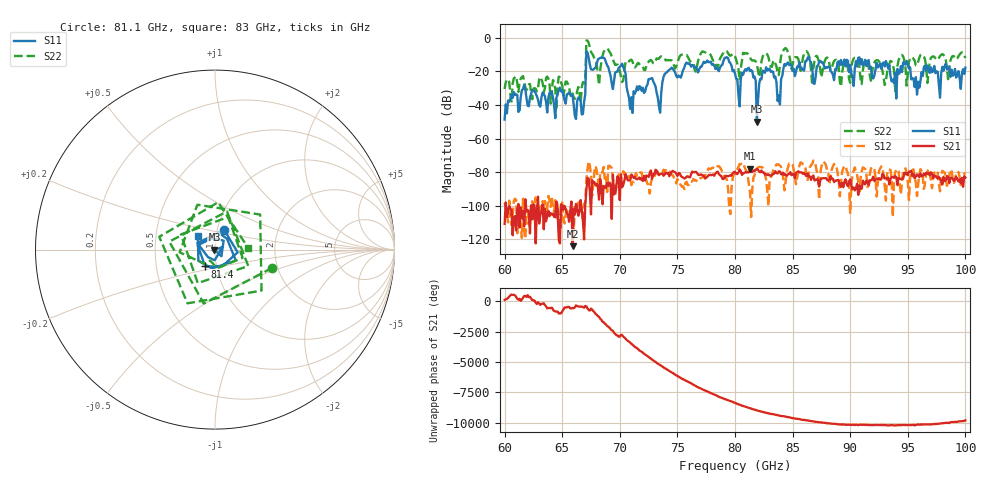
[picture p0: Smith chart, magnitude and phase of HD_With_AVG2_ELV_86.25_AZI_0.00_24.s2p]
! 11/25/2026 10:22:01 AM
! C:\ANRITSUVNA\TEMP\TEMP.S2P
! CHANNEL.1
! TR.MEASUREMENT
! RAW.DATA
# HZ S RI R 50.0
! FREQ.HZ  S11RE  S11IM  S21RE  S21IM  S12RE  S12IM  S22RE  S22IM
!; PortSelection: Port_12
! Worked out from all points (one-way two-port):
!   401 points, 60 GHz to 100 GHz, reference 50 ohm
!   highest |S21| = -77.98 dB at 81.3 GHz (marker M1); lowest = -124.0 dB at 65.9 GHz (marker M2)
!   lowest |S11| = -50.0 dB at 81.9 GHz (marker M3), VSWR 1.01, Z = 49.7 + j0.0217 ohm
!   |S11| at or under -10 dB: start of sweep to 67.09 GHz; 67.24 GHz to end of sweep
!   |S22| runs from -42.9 to -1.7 dB; largest |S21 - S12| = 0.00029
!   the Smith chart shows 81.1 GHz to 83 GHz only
!   S11 on the Smith chart (normalised r, x): 81.1 GHz: 1.08, +0.24; 81.4 GHz: 0.88, -0.17; 83 GHz: 0.82, +0.12
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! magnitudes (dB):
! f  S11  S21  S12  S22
! 60 GHz  -48.7  -110.7  -98.1  -30.5
! 61.6 GHz  -30.6  -103.2  -95.7  -22.8
! 65.9 GHz  -34.1  -124.0  -102.3  -33.2
! 66.7 GHz  -45.7  -102.3  -101.1  -29.5
! 67.3 GHz  -12.1  -83.9  -73.5  -3.2
! 68.4 GHz  -11.8  -88.2  -80.1  -14.7
! 70.3 GHz  -17.5  -87.6  -79.5  -25.5
! 70.9 GHz  -42.4  -84.9  -83.3  -13.5
! 72.7 GHz  -24.3  -79.0  -86.4  -13.3
! 73.4 GHz  -40.9  -81.8  -79.7  -12.6
! 74.4 GHz  -18.6  -80.9  -80.4  -13.4
! 80 GHz  -21.3  -79.6  -80.7  -11.1
! 81.1 GHz  -18.4  -80.1  -81.9  -9.5
! 81.3 GHz  -19.9  -78.0  -91.5  -11.8
! 81.4 GHz  -19.3  -79.9  -106.6  -13.0
! 81.9 GHz  -50.0  -78.0  -77.9  -15.9
! 83 GHz  -18.4  -82.0  -84.9  -14.6
! 83.8 GHz  -34.4  -79.5  -75.5  -22.3
! 84.4 GHz  -16.7  -81.3  -85.1  -6.2
! 86.7 GHz  -17.5  -82.6  -75.2  -28.0
! 93.4 GHz  -16.3  -87.3  -78.5  -15.6
! 100 GHz  -17.9  -83.2  -80.3  -12.1
